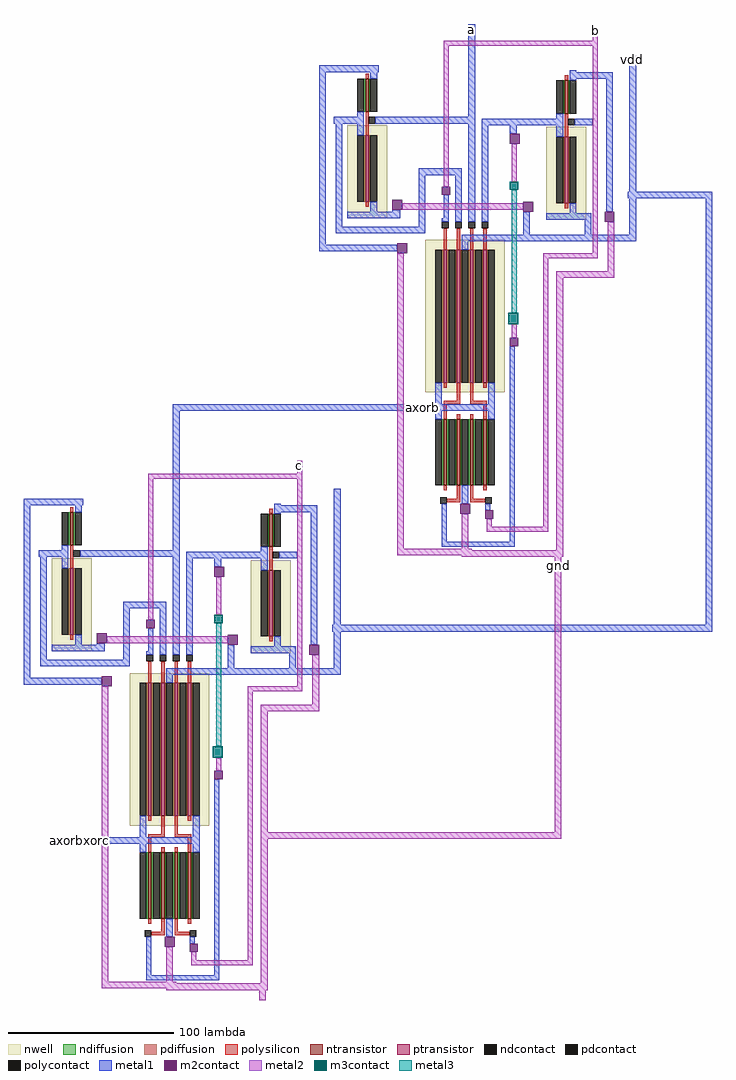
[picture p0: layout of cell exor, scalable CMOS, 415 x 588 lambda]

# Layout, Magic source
magic
tech scmos
<< nwell >>
rect 264 235 288 291
rect 384 234 408 290
rect 311 130 359 222
rect 86 -26 110 30
rect 206 -27 230 29
rect 133 -131 181 -39
<< ntransistor >>
rect 275 299 277 319
rect 395 298 397 318
rect 322 74 324 114
rect 330 74 332 114
rect 338 74 340 114
rect 346 74 348 114
rect 97 38 99 58
rect 217 37 219 57
rect 144 -187 146 -147
rect 152 -187 154 -147
rect 160 -187 162 -147
rect 168 -187 170 -147
<< ptransistor >>
rect 275 245 277 285
rect 395 244 397 284
rect 322 136 324 216
rect 330 136 332 216
rect 338 136 340 216
rect 346 136 348 216
rect 97 -16 99 24
rect 217 -17 219 23
rect 144 -125 146 -45
rect 152 -125 154 -45
rect 160 -125 162 -45
rect 168 -125 170 -45
<< ndiffusion >>
rect 274 299 275 319
rect 277 299 278 319
rect 394 298 395 318
rect 397 298 398 318
rect 321 74 322 114
rect 324 74 325 114
rect 329 74 330 114
rect 332 74 333 114
rect 337 74 338 114
rect 340 74 341 114
rect 345 74 346 114
rect 348 74 349 114
rect 96 38 97 58
rect 99 38 100 58
rect 216 37 217 57
rect 219 37 220 57
rect 143 -187 144 -147
rect 146 -187 147 -147
rect 151 -187 152 -147
rect 154 -187 155 -147
rect 159 -187 160 -147
rect 162 -187 163 -147
rect 167 -187 168 -147
rect 170 -187 171 -147
<< pdiffusion >>
rect 274 245 275 285
rect 277 245 278 285
rect 394 244 395 284
rect 397 244 398 284
rect 321 136 322 216
rect 324 136 325 216
rect 329 136 330 216
rect 332 136 333 216
rect 337 136 338 216
rect 340 136 341 216
rect 345 136 346 216
rect 348 136 349 216
rect 96 -16 97 24
rect 99 -16 100 24
rect 216 -17 217 23
rect 219 -17 220 23
rect 143 -125 144 -45
rect 146 -125 147 -45
rect 151 -125 152 -45
rect 154 -125 155 -45
rect 159 -125 160 -45
rect 162 -125 163 -45
rect 167 -125 168 -45
rect 170 -125 171 -45
<< ndcontact >>
rect 270 299 274 319
rect 278 299 282 319
rect 390 298 394 318
rect 398 298 402 318
rect 317 74 321 114
rect 325 74 329 114
rect 333 74 337 114
rect 341 74 345 114
rect 349 74 353 114
rect 92 38 96 58
rect 100 38 104 58
rect 212 37 216 57
rect 220 37 224 57
rect 139 -187 143 -147
rect 147 -187 151 -147
rect 155 -187 159 -147
rect 163 -187 167 -147
rect 171 -187 175 -147
<< pdcontact >>
rect 270 245 274 285
rect 278 245 282 285
rect 390 244 394 284
rect 398 244 402 284
rect 317 136 321 216
rect 325 136 329 216
rect 333 136 337 216
rect 341 136 345 216
rect 349 136 353 216
rect 92 -16 96 24
rect 100 -16 104 24
rect 212 -17 216 23
rect 220 -17 224 23
rect 139 -125 143 -45
rect 147 -125 151 -45
rect 155 -125 159 -45
rect 163 -125 167 -45
rect 171 -125 175 -45
<< polysilicon >>
rect 275 319 277 322
rect 395 318 397 321
rect 275 285 277 299
rect 395 284 397 298
rect 275 242 277 245
rect 395 241 397 244
rect 322 216 324 229
rect 330 216 332 229
rect 338 216 340 229
rect 346 216 348 229
rect 322 133 324 136
rect 330 125 332 136
rect 322 123 332 125
rect 338 125 340 136
rect 346 133 348 136
rect 338 123 348 125
rect 322 114 324 123
rect 330 114 332 117
rect 338 114 340 117
rect 346 114 348 123
rect 322 71 324 74
rect 330 66 332 74
rect 324 64 332 66
rect 338 66 340 74
rect 346 71 348 74
rect 338 64 347 66
rect 97 58 99 61
rect 217 57 219 60
rect 97 24 99 38
rect 217 23 219 37
rect 97 -19 99 -16
rect 217 -20 219 -17
rect 144 -45 146 -32
rect 152 -45 154 -32
rect 160 -45 162 -32
rect 168 -45 170 -32
rect 144 -128 146 -125
rect 152 -136 154 -125
rect 144 -138 154 -136
rect 160 -136 162 -125
rect 168 -128 170 -125
rect 160 -138 170 -136
rect 144 -147 146 -138
rect 152 -147 154 -144
rect 160 -147 162 -144
rect 168 -147 170 -138
rect 144 -190 146 -187
rect 152 -195 154 -187
rect 146 -197 154 -195
rect 160 -195 162 -187
rect 168 -190 170 -187
rect 160 -197 169 -195
<< polycontact >>
rect 277 292 281 296
rect 397 291 401 295
rect 321 229 325 233
rect 329 229 333 233
rect 337 229 341 233
rect 345 229 349 233
rect 320 63 324 67
rect 347 63 351 67
rect 99 31 103 35
rect 219 30 223 34
rect 143 -32 147 -28
rect 151 -32 155 -28
rect 159 -32 163 -28
rect 167 -32 171 -28
rect 142 -198 146 -194
rect 169 -198 173 -194
<< metal1 >>
rect 247 323 283 327
rect 247 219 251 323
rect 278 319 282 323
rect 270 296 274 299
rect 337 296 341 352
rect 398 323 402 324
rect 398 319 424 323
rect 398 318 402 319
rect 256 292 274 296
rect 281 292 341 296
rect 390 295 394 298
rect 257 230 261 292
rect 270 285 274 292
rect 307 261 333 265
rect 278 239 282 245
rect 291 239 296 240
rect 264 235 296 239
rect 307 230 311 261
rect 322 235 325 249
rect 257 226 311 230
rect 321 233 325 235
rect 329 233 333 261
rect 337 233 341 292
rect 345 291 394 295
rect 401 291 412 295
rect 345 233 349 291
rect 362 286 366 291
rect 390 284 394 291
rect 370 225 374 239
rect 398 238 402 244
rect 420 239 424 319
rect 434 251 438 333
rect 433 247 484 251
rect 384 234 411 238
rect 407 225 411 234
rect 434 225 438 247
rect 333 221 438 225
rect 247 215 294 219
rect 333 216 337 221
rect 317 123 321 136
rect 349 123 353 136
rect 159 119 353 123
rect 69 62 105 66
rect 69 -42 73 62
rect 100 58 104 62
rect 92 35 96 38
rect 159 35 163 119
rect 317 114 321 119
rect 349 114 353 119
rect 220 62 224 63
rect 220 58 246 62
rect 220 57 224 58
rect 78 31 96 35
rect 103 31 163 35
rect 212 34 216 37
rect 79 -31 83 31
rect 92 24 96 31
rect 129 0 155 4
rect 100 -22 104 -16
rect 113 -22 118 -21
rect 86 -26 118 -22
rect 129 -31 133 0
rect 144 -26 147 -12
rect 79 -35 133 -31
rect 143 -28 147 -26
rect 151 -28 155 0
rect 159 -28 163 31
rect 167 30 216 34
rect 223 30 234 34
rect 167 -28 171 30
rect 184 25 188 30
rect 212 23 216 30
rect 192 -36 196 -22
rect 220 -23 224 -17
rect 242 -22 246 58
rect 256 -10 260 72
rect 333 63 337 74
rect 321 40 324 63
rect 347 59 350 63
rect 362 40 365 158
rect 321 37 365 40
rect 480 -10 484 247
rect 255 -14 484 -10
rect 206 -27 233 -23
rect 229 -36 233 -27
rect 256 -36 260 -14
rect 155 -40 260 -36
rect 69 -46 116 -42
rect 155 -45 159 -40
rect 139 -138 143 -125
rect 171 -138 175 -125
rect 101 -142 175 -138
rect 139 -147 143 -142
rect 171 -147 175 -142
rect 155 -198 159 -187
rect 143 -221 146 -198
rect 169 -202 172 -198
rect 184 -221 187 -103
rect 143 -224 187 -221
<< m2contact >>
rect 291 240 297 246
rect 321 249 326 254
rect 362 280 368 286
rect 370 239 376 245
rect 419 233 425 239
rect 294 214 300 220
rect 362 158 367 163
rect 113 -21 119 -15
rect 143 -12 148 -7
rect 184 19 190 25
rect 192 -22 198 -16
rect 332 57 338 63
rect 347 54 352 59
rect 241 -28 247 -22
rect 116 -47 122 -41
rect 184 -103 189 -98
rect 154 -204 160 -198
rect 169 -207 174 -202
<< metal2 >>
rect 412 342 415 350
rect 322 339 415 342
rect 322 254 325 339
rect 363 257 366 280
rect 297 240 370 244
rect 412 214 415 339
rect 234 81 237 89
rect 144 78 237 81
rect 144 -7 147 78
rect 185 -4 188 19
rect 119 -21 192 -17
rect 234 -47 237 78
rect 294 36 298 214
rect 382 211 415 214
rect 363 163 366 171
rect 333 36 337 57
rect 348 49 351 54
rect 382 49 385 211
rect 421 203 425 233
rect 348 46 385 49
rect 390 199 425 203
rect 294 35 339 36
rect 390 35 394 199
rect 294 32 394 35
rect 333 31 394 32
rect 116 -225 120 -47
rect 204 -50 237 -47
rect 185 -98 188 -90
rect 155 -225 159 -204
rect 170 -212 173 -207
rect 204 -212 207 -50
rect 243 -58 247 -28
rect 170 -215 207 -212
rect 212 -62 247 -58
rect 212 -135 216 -62
rect 389 -135 393 31
rect 212 -139 393 -135
rect 116 -226 161 -225
rect 212 -226 216 -139
rect 116 -229 216 -226
rect 155 -230 216 -229
rect 211 -236 215 -230
<< m3contact >>
rect 362 252 367 257
rect 184 -9 189 -4
rect 361 171 367 178
rect 183 -90 189 -83
<< metal3 >>
rect 363 178 366 252
rect 185 -83 188 -9
<< labels >>
rlabel metal1 337 346 341 351 1 a
rlabel metal1 434 328 438 333 7 vdd
rlabel metal2 389 24 393 28 1 gnd
rlabel metal2 412 346 415 350 5 b
rlabel metal1 308 119 311 123 1 axorb
rlabel metal2 234 83 237 89 1 c
rlabel metal1 101 -142 104 -138 1 axorbxorc
<< end >>
